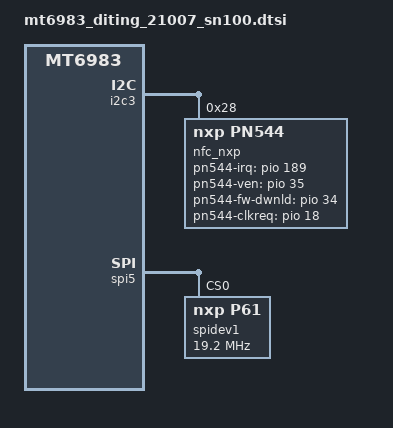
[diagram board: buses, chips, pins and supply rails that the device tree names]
/**********************************************************************************
* Copyright (c)  2008-2020  Guangdong oplus Mobile Comm Corp., Ltd
*
***********************************************************************************/
&odm {
	nfc_chipset:nfc_chipset {
		compatible = "oplus-nfc-chipset";
		chipset-21007 = "SN100T";
	};
};

&clock_buffer_ctrl {
	mediatek,xo-bbck4 = <1>;
};

&i2c3 {
       status = "okay";
       nfc_nxp@28 {
               compatible = "nxp,pn544";
               reg = <0x28>;
               nxp,pn544-irq = <&pio 189 0x0>;
               nxp,pn544-ven = <&pio 35 0x0>;
               nxp,pn544-fw-dwnld = <&pio 34 0x0>;
               nxp,pn544-clkreq = <&pio 18 0x0>;
               interrupt-parent = <&pio>;
       };
};

&spi5 {
       status = "okay";
       #address-cells = <1>;
       #size-cells = <0>;
       spidev1: p61@1 {
       compatible = "nxp,p61";
       reg = <0>;
       spi-max-frequency = <19200000>;
       };
};
